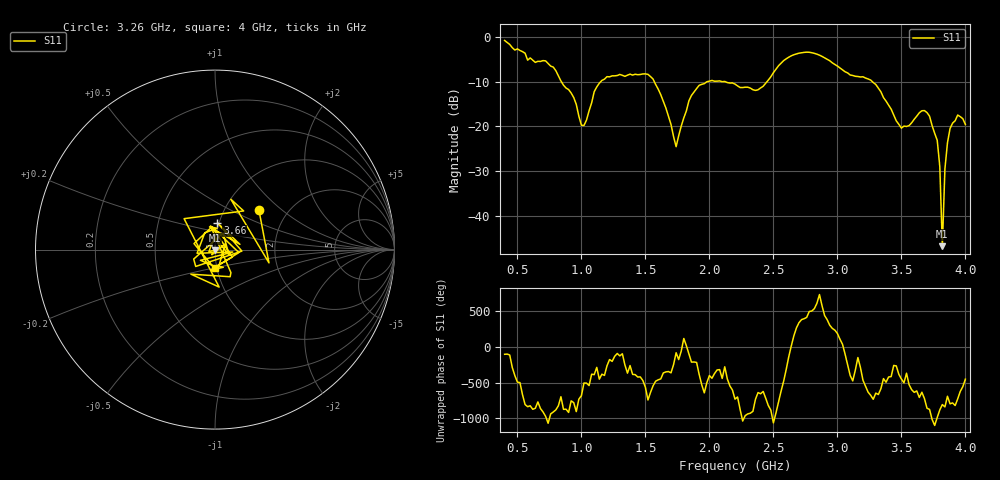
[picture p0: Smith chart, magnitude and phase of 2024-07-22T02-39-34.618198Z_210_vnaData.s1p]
!Created with skrf (http://scikit-rf.org).
# Hz S RI R 50.0
!freq ReS11 ImS11
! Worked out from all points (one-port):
!   181 points, 400 MHz to 4 GHz, reference 50 ohm
!   lowest |S11| = -46.8 dB at 3.82 GHz (marker M1), VSWR 1.01, Z = 50 - j0.455 ohm
!   |S11| at or under -10 dB: 1.57 GHz to 1.982 GHz (412.4 MHz wide, 23.2 % of centre); 2.124 GHz to 2.45 GHz (325.4 MHz wide, 14.2 % of centre); 3.273 GHz to end of sweep (the widest 3 of 4)
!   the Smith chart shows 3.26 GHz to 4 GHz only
!   S11 on the Smith chart (normalised r, x): 3.26 GHz: 1.44, +0.71; 3.66 GHz: 0.98, +0.30; 4 GHz: 0.97, -0.21
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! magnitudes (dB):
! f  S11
! 400 MHz  -0.8
! 720 MHz  -5.3
! 860 MHz  -10.8
! 1.02 GHz  -19.8
! 1.14 GHz  -10.3
! 1.3 GHz  -8.4
! 1.56 GHz  -9.4
! 1.74 GHz  -24.6
! 1.76 GHz  -22.1
! 1.84 GHz  -14.3
! 1.92 GHz  -10.8
! 2.2 GHz  -10.5
! 2.38 GHz  -11.8
! 2.66 GHz  -4.0
! 2.84 GHz  -3.8
! 3.1 GHz  -8.5
! 3.26 GHz  -9.6
! 3.5 GHz  -20.4
! 3.56 GHz  -19.8
! 3.66 GHz  -16.5
! 3.72 GHz  -17.7
! 3.78 GHz  -23.1
! 3.8 GHz  -29.0
! 3.82 GHz  -46.8
! 3.84 GHz  -29.5
! 3.88 GHz  -20.5
! 3.94 GHz  -17.5
! 4 GHz  -19.6
